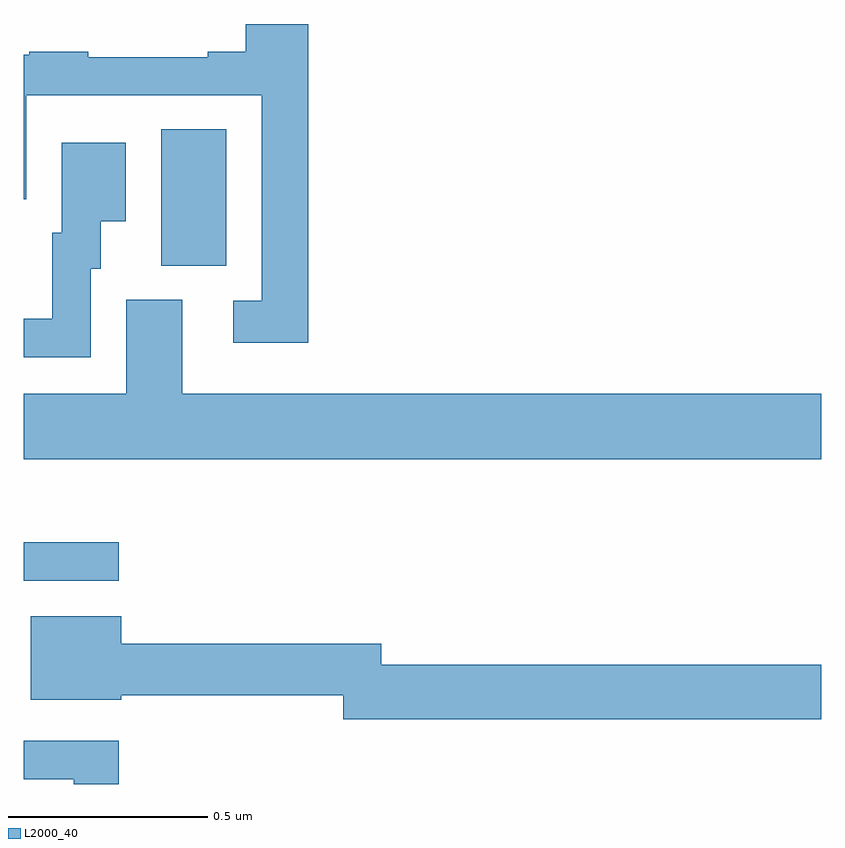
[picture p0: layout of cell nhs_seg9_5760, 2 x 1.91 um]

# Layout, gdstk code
import gdstk
lib = gdstk.Library(unit=1e-6, precision=1e-09)
def R(c, l, rs):  # rectangles x0, y0, x1, y1
    for r in rs: c.add(gdstk.rectangle(r[:2], r[2:], *l))
def P(c, l, *ps):  # polygons
    for p in ps: c.add(gdstk.Polygon(p, *l))
L2000_40 = (2000, 40)

nhs_seg9_5760 = lib.new_cell('nhs_seg9_5760')
R(nhs_seg9_5760, L2000_40, [(183,1208.103,183.238,1208.199), (183.344,1208.893,183.508,1209.236)])
P(nhs_seg9_5760, L2000_40, [(183.713,1209.5),(183.557,1209.5),(183.557,1209.43),(183.461,1209.43),(183.461,1209.417),(183.161,1209.417),(183.161,1209.43),(183.013,1209.43),(183.013,1209.423),(183,1209.423),(183,1209.06),(183.006,1209.06),(183.006,1209.321),(183.597,1209.321),(183.597,1208.805),(183.525,1208.805),(183.525,1208.7),(183.713,1208.7)],
  [(183.168,1208.886),(183.193,1208.886),(183.193,1209.005),(183.256,1209.005),(183.256,1209.202),(183.095,1209.202),(183.095,1208.976),(183.071,1208.976),(183.071,1208.76),(183,1208.76),(183,1208.664),(183.168,1208.664)],
  [(185,1208.572),(183.397,1208.572),(183.397,1208.808),(183.257,1208.808),(183.257,1208.572),(183,1208.572),(183,1208.408),(185,1208.408)],
  [(185,1207.892),(183.897,1207.892),(183.897,1207.945),(183.244,1207.945),(183.244,1208.014),(183.017,1208.014),(183.017,1207.805),(183.244,1207.805),(183.244,1207.816),(183.801,1207.816),(183.801,1207.756),(185,1207.756)],
  [(183.238,1207.701),(183,1207.701),(183,1207.605),(183.125,1207.605),(183.125,1207.593),(183.238,1207.593)])

lib.write_gds('nhs_seg9_5760.gds')
